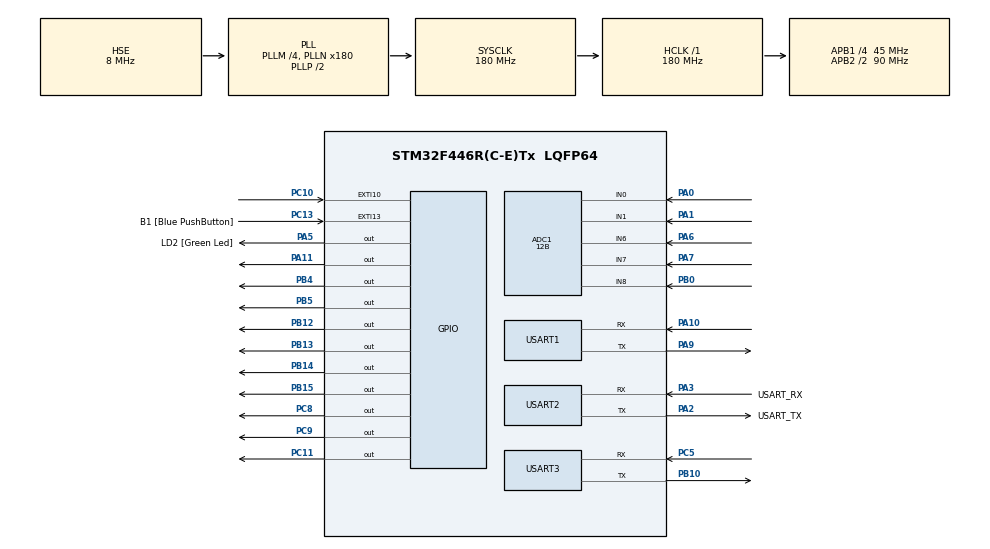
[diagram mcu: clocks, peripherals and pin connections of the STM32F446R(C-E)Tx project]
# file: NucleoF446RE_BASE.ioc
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ADC1.Channel-0\#ChannelRegularConversion=ADC_CHANNEL_0
ADC1.Channel-1\#ChannelRegularConversion=ADC_CHANNEL_1
ADC1.Channel-2\#ChannelRegularConversion=ADC_CHANNEL_6
ADC1.Channel-3\#ChannelRegularConversion=ADC_CHANNEL_7
ADC1.Channel-4\#ChannelRegularConversion=ADC_CHANNEL_8
ADC1.ClockPrescaler=ADC_CLOCK_SYNC_PCLK_DIV4
ADC1.ContinuousConvMode=ENABLE
ADC1.DMAContinuousRequests=ENABLE
ADC1.DataAlign=ADC_DATAALIGN_RIGHT
ADC1.DiscontinuousConvMode=DISABLE
ADC1.EOCSelection=ADC_EOC_SINGLE_CONV
ADC1.EnableAnalogWatchDog=false
ADC1.ExternalTrigConvEdge=ADC_EXTERNALTRIGCONVEDGE_NONE
ADC1.InjNumberOfConversion=0
ADC1.NbrOfConversion=5
ADC1.NbrOfConversionFlag=1
ADC1.Rank-0\#ChannelRegularConversion=1
ADC1.Rank-1\#ChannelRegularConversion=2
ADC1.Rank-2\#ChannelRegularConversion=3
ADC1.Rank-3\#ChannelRegularConversion=4
ADC1.Rank-4\#ChannelRegularConversion=5
ADC1.Resolution=ADC_RESOLUTION_12B
ADC1.SamplingTime-0\#ChannelRegularConversion=ADC_SAMPLETIME_480CYCLES
ADC1.SamplingTime-1\#ChannelRegularConversion=ADC_SAMPLETIME_480CYCLES
ADC1.SamplingTime-2\#ChannelRegularConversion=ADC_SAMPLETIME_480CYCLES
ADC1.SamplingTime-3\#ChannelRegularConversion=ADC_SAMPLETIME_480CYCLES
ADC1.SamplingTime-4\#ChannelRegularConversion=ADC_SAMPLETIME_480CYCLES
ADC1.ScanConvMode=ENABLE
ADC1.master=1
Dma.ADC1.0.Direction=DMA_PERIPH_TO_MEMORY
Dma.ADC1.0.FIFOMode=DMA_FIFOMODE_ENABLE
Dma.ADC1.0.FIFOThreshold=DMA_FIFO_THRESHOLD_HALFFULL
Dma.ADC1.0.Instance=DMA2_Stream0
Dma.ADC1.0.MemBurst=DMA_MBURST_SINGLE
Dma.ADC1.0.MemDataAlignment=DMA_MDATAALIGN_HALFWORD
Dma.ADC1.0.MemInc=DMA_MINC_ENABLE
Dma.ADC1.0.Mode=DMA_CIRCULAR
Dma.ADC1.0.PeriphBurst=DMA_PBURST_SINGLE
Dma.ADC1.0.PeriphDataAlignment=DMA_PDATAALIGN_HALFWORD
Dma.ADC1.0.PeriphInc=DMA_PINC_DISABLE
Dma.ADC1.0.Priority=DMA_PRIORITY_LOW
Dma.Request0=ADC1
Mcu.Family=STM32F4
Mcu.Name=STM32F446R(C-E)Tx
Mcu.Package=LQFP64
NVIC.DMA2_Stream0_IRQn=true\:0\:0\:false\:false\:true\:true
NVIC.EXTI15_10_IRQn=true\:0\:0\:false\:false\:true\:true
NVIC.PriorityGroup=NVIC_PRIORITYGROUP_0
NVIC.RCC_IRQn=true\:0\:0\:false\:false\:true\:true
NVIC.TIM2_IRQn=true\:0\:0\:false\:false\:true\:true
NVIC.TIM3_IRQn=true\:0\:0\:false\:false\:true\:true
NVIC.USART1_IRQn=true\:0\:0\:false\:false\:true\:true
NVIC.USART2_IRQn=true\:0\:0\:false\:false\:true\:true
NVIC.USART3_IRQn=true\:0\:0\:false\:false\:true\:true
PA0-WKUP.Signal=ADCx_IN0
PA1.Signal=ADCx_IN1
PA10.Mode=Asynchronous
PA10.Signal=USART1_RX
PA11.Signal=GPIO_Output
PA13.GPIO_Label=TMS
PA13.Signal=SYS_JTMS-SWDIO
PA14.GPIO_Label=TCK
PA14.Signal=SYS_JTCK-SWCLK
PA2.GPIO_Label=USART_TX
PA2.Mode=Asynchronous
PA2.Signal=USART2_TX
PA3.GPIO_Label=USART_RX
PA3.Mode=Asynchronous
PA3.Signal=USART2_RX
PA5.GPIO_Label=LD2 [Green Led]
PA5.Signal=GPIO_Output
PA6.Signal=ADCx_IN6
PA7.Signal=ADCx_IN7
PA9.Mode=Asynchronous
PA9.Signal=USART1_TX
PB0.Signal=ADCx_IN8
PB10.Mode=Asynchronous
PB10.Signal=USART3_TX
PB12.Signal=GPIO_Output
PB13.Signal=GPIO_Output
PB14.Signal=GPIO_Output
PB15.Signal=GPIO_Output
PB3.GPIO_Label=SWO
PB3.Signal=SYS_JTDO-SWO
PB4.Signal=GPIO_Output
PB5.Signal=GPIO_Output
PC10.Signal=GPXTI10
PC11.Signal=GPIO_Output
PC13.GPIO_Label=B1 [Blue PushButton]
PC13.GPIO_ModeDefaultEXTI=GPIO_MODE_EVT_RISING
PC13.Signal=GPXTI13
PC14-OSC32_IN.Mode=LSE-External-Oscillator
PC14-OSC32_IN.Signal=RCC_OSC32_IN
PC15-OSC32_OUT.Mode=LSE-External-Oscillator
PC15-OSC32_OUT.Signal=RCC_OSC32_OUT
PC5.Mode=Asynchronous
PC5.Signal=USART3_RX
PC8.Signal=GPIO_Output
PC9.Signal=GPIO_Output
PH0-OSC_IN.Mode=HSE-External-Oscillator
PH0-OSC_IN.Signal=RCC_OSC_IN
PH1-OSC_OUT.Mode=HSE-External-Oscillator
PH1-OSC_OUT.Signal=RCC_OSC_OUT
ProjectManager.HeapSize=0x200
ProjectManager.StackSize=0x400
ProjectManager.TargetToolchain=TrueSTUDIO
RCC.AHBFreq_Value=180000000
RCC.APB1CLKDivider=RCC_HCLK_DIV4
RCC.APB1Freq_Value=45000000
RCC.APB1TimFreq_Value=90000000
RCC.APB2CLKDivider=RCC_HCLK_DIV2
RCC.APB2Freq_Value=90000000
RCC.APB2TimFreq_Value=180000000
RCC.CortexFreq_Value=180000000
RCC.FLatency-AdvancedSettings=FLASH_LATENCY_5
RCC.HCLKFreq_Value=180000000
RCC.HSE_VALUE=8000000
RCC.HSI_VALUE=16000000
RCC.PLLM=4
RCC.PLLN=180
RCC.PLLSourceVirtual=RCC_PLLSOURCE_HSE
RCC.SYSCLKFreq_VALUE=180000000
RCC.SYSCLKSource=RCC_SYSCLKSOURCE_PLLCLK
RCC.USBFreq_Value=180000000
RCC.VCOOutputFreq_Value=360000000
SH.ADCx_IN0.0=ADC1_IN0,IN0
SH.ADCx_IN1.0=ADC1_IN1,IN1
SH.ADCx_IN6.0=ADC1_IN6,IN6
SH.ADCx_IN7.0=ADC1_IN7,IN7
SH.ADCx_IN8.0=ADC1_IN8,IN8
TIM2.Period=4999
TIM2.Prescaler=9000
TIM3.Period=9999
TIM3.Prescaler=9000
USART1.VirtualMode=VM_ASYNC
USART2.VirtualMode=VM_ASYNC
USART3.VirtualMode=VM_ASYNC
VP_TIM2_VS_ClockSourceINT.Mode=Internal
VP_TIM3_VS_ClockSourceINT.Mode=Internal
board=NUCLEO-F446RE

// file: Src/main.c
/**
  ******************************************************************************
  * File Name          : main.c
  * Description        : Main program body
  ******************************************************************************
  *
  * COPYRIGHT(c) 2016 STMicroelectronics
  *
  * Redistribution and use in source and binary forms, with or without modification,
  * are permitted provided that the following conditions are met:
  *   1. Redistributions of source code must retain the above copyright notice,
  *      this list of conditions and the following disclaimer.
  *   2. Redistributions in binary form must reproduce the above copyright notice,
  *      this list of conditions and the following disclaimer in the documentation
  *      and/or other materials provided with the distribution.
  *   3. Neither the name of STMicroelectronics nor the names of its contributors
  *      may be used to endorse or promote products derived from this software
  *      without specific prior written permission.
  *
  * THIS SOFTWARE IS PROVIDED BY THE COPYRIGHT HOLDERS AND CONTRIBUTORS "AS IS"
  * AND ANY EXPRESS OR IMPLIED WARRANTIES, INCLUDING, BUT NOT LIMITED TO, THE
  * IMPLIED WARRANTIES OF MERCHANTABILITY AND FITNESS FOR A PARTICULAR PURPOSE ARE
  * DISCLAIMED. IN NO EVENT SHALL THE COPYRIGHT HOLDER OR CONTRIBUTORS BE LIABLE
  * FOR ANY DIRECT, INDIRECT, INCIDENTAL, SPECIAL, EXEMPLARY, OR CONSEQUENTIAL
  * DAMAGES (INCLUDING, BUT NOT LIMITED TO, PROCUREMENT OF SUBSTITUTE GOODS OR
  * SERVICES; LOSS OF USE, DATA, OR PROFITS; OR BUSINESS INTERRUPTION) HOWEVER
  * CAUSED AND ON ANY THEORY OF LIABILITY, WHETHER IN CONTRACT, STRICT LIABILITY,
  * OR TORT (INCLUDING NEGLIGENCE OR OTHERWISE) ARISING IN ANY WAY OUT OF THE USE
  * OF THIS SOFTWARE, EVEN IF ADVISED OF THE POSSIBILITY OF SUCH DAMAGE.
  *
  ******************************************************************************
  */
#include "stm32f4xx_hal.h"

/* USER CODE BEGIN Includes */
#include <math.h>
#include "tlcd.h"
/* USER CODE END Includes */

ADC_HandleTypeDef hadc1;
DMA_HandleTypeDef hdma_adc1;

TIM_HandleTypeDef htim2;
TIM_HandleTypeDef htim3;

UART_HandleTypeDef huart1;
UART_HandleTypeDef huart2;
UART_HandleTypeDef huart3;

/* USER CODE BEGIN PV */
/* Private variables ---------------------------------------------------------*/
#define DATA  10

uint8_t Rx_Buffer1[DATA];
uint8_t Rx_Buffer2[DATA];
uint8_t Rx_Buffer3[DATA];

uint8_t Rx_Data1[2];
uint8_t Rx_Data2[2];
uint8_t Rx_Data3[2];

uint8_t Rx_Indx1;
uint8_t Rx_Indx2;
uint8_t Rx_Indx3;

uint8_t Transfer_cplt1;
uint8_t Transfer_cplt2;
uint8_t Transfer_cplt3;

volatile double   adc[5];
volatile uint16_t ADC_Data[5];
volatile uint16_t ADCData[5];
int				  oldx=0,oldy=0;
volatile uint32_t count=0;
volatile uint16_t Sin[100],ss,cc;

/* USER CODE END PV */

void SystemClock_Config(void);
static void MX_GPIO_Init(void);
static void MX_DMA_Init(void);
static void MX_TIM2_Init(void);
static void MX_TIM3_Init(void);
static void MX_USART1_UART_Init(void);
static void MX_USART2_UART_Init(void);
static void MX_USART3_UART_Init(void);
static void MX_ADC1_Init(void);

/* USER CODE BEGIN PFP */
/* Private function prototypes -----------------------------------------------*/
void 		HAL_UART_RxCpltCallback(UART_HandleTypeDef *huart);
void 		HAL_TIM_PeriodElapsedCallback(TIM_HandleTypeDef *htim);
void 		HAL_ADC_ConvCpltCallback(ADC_HandleTypeDef* hadc);
void 		HAL_GPIO_EXTI_Callback(uint16_t GPIO_Pin);

void		MathDelay();

/* USER CODE END PFP */

/* USER CODE BEGIN 0 */
void	MathDelay()
{
	/*
	volatile uint32_t a;

	for(a=0;a<100000;a++)
	{
		sin(a*3.141592/180) * cos(a*3.141592/180);
		if(a%10000==0)
		{
			HAL_UART_Transmit(&huart2, (uint8_t *)"*", 1,1000);
		}
	}
	HAL_UART_Transmit(&huart2, (uint8_t *)"\r\n", 2,1000);
	*/
}

void HAL_GPIO_EXTI_Callback(uint16_t GPIO_Pin)
{
	char s[20];

		sprintf(s,"Pin no : %5d\r\n",GPIO_Pin);
		HAL_UART_Transmit(&huart2, (uint8_t *)s,16 ,1000);
}

void HAL_UART_RxCpltCallback(UART_HandleTypeDef *huart)
{
	uint8_t	i;

	HAL_GPIO_TogglePin(GPIOA, GPIO_PIN_11);

	if(huart->Instance==USART1)
	{
		if(Rx_Indx1==0)
		{
			for(i=0;i<DATA;i++) Rx_Buffer1[i] = 0;
		}
		if(Rx_Data1[0]!=0x0d)
		{
			Rx_Buffer1[Rx_Indx1++]=Rx_Data1[0];
		}
		else
		{
			Rx_Indx1 = 0;
			Transfer_cplt1 = 1;
		}
		HAL_UART_Receive_IT(&huart1, Rx_Data1, 1);
		HAL_UART_Transmit(&huart1, Rx_Data1, 1,1000);
	}
	else if(huart->Instance==USART2)
	{
		if(Rx_Indx2==0)
		{
			for(i=0;i<DATA;i++) Rx_Buffer2[i] = 0;
		}
		if(Rx_Data2[0]!=0x0d)
		{
			Rx_Buffer2[Rx_Indx2++]=Rx_Data2[0];
		}
		else
		{
			Rx_Indx2 = 0;
			Transfer_cplt2 = 1;
		}
		HAL_UART_Receive_IT(&huart2, Rx_Data2, 1);
		HAL_UART_Transmit(&huart2, Rx_Data2, 1,1000);
	}
	else if(huart->Instance==USART3)
	{
		if(Rx_Indx3==0)
		{
			for(i=0;i<DATA;i++) Rx_Buffer3[i] = 0;
		}
		if(Rx_Data3[0]!=0x0d)
		{
			Rx_Buffer3[Rx_Indx3++]=Rx_Data3[0];
		}
		else
		{
			Rx_Indx3 = 0;
			Transfer_cplt3 = 1;
		}
		HAL_UART_Receive_IT(&huart3, Rx_Data3, 1);
		HAL_UART_Transmit(&huart3, Rx_Data3, 1,1000);
	}
}

void HAL_TIM_PeriodElapsedCallback(TIM_HandleTypeDef *htim)
{
	if(htim->Instance==TIM2) {
		HAL_GPIO_TogglePin(GPIOC, GPIO_PIN_9);
		// HAL_GPIO_TogglePin(LD2_GPIO_Port, LD2_Pin);

		ADCData[0] = ADC_Data[0];
		ADCData[1] = ADC_Data[1];

		adc[0] = oldx-ADCData[0]; // * 3.3 / 4096;
		adc[1] = oldy-ADCData[1]; // * 3.3 / 4096;
		adc[2] = ADC_Data[2] * 5.0 / 4096;
		adc[3] = ADC_Data[3] * 3.3 / 4096;
		adc[4] = ADC_Data[4] * 3.3 / 4096;
		oldx = ADCData[0];
		oldy = ADCData[1];
		//HAL_UART_Transmit(&huart2, (uint8_t *)"Tim2Usart2\r\n", 12,1000);
	}
	else if(htim->Instance==TIM3) {
		HAL_GPIO_TogglePin(GPIOC, GPIO_PIN_8);
		HAL_GPIO_TogglePin(LD2_GPIO_Port, LD2_Pin);
		//HAL_UART_Transmit(&huart2, (uint8_t *)"Tim3Usart2\r\n", 12,1000);
	}
	else if(htim->Instance==TIM4) {
	//	HAL_GPIO_TogglePin(LD2_GPIO_Port, LD2_Pin);
	}
}

void HAL_ADC_ConvCpltCallback(ADC_HandleTypeDef* hadc)
{
//	if(count++==100000000) count = 0;
//	adc[0] = ADC_Data[0] * 3.3 / 4095;
//	adc[1] = ADC_Data[1] * 3.3 / 4095;
//	adc[2] = ADC_Data[2] * 3.3 / 4095;
}
/* USER CODE END 0 */

int main(void)
{

  /* USER CODE BEGIN 1 */
	uint16_t x;
	char s[10];

  /* USER CODE END 1 */

  /* MCU Configuration----------------------------------------------------------*/

  /* Reset of all peripherals, Initializes the Flash interface and the Systick. */
  HAL_Init();

  /* Configure the system clock */
  SystemClock_Config();

  /* Initialize all configured peripherals */
  MX_GPIO_Init();
  MX_DMA_Init();
  MX_TIM2_Init();
  MX_TIM3_Init();
  MX_USART1_UART_Init();
  MX_USART2_UART_Init();
  MX_USART3_UART_Init();
  MX_ADC1_Init();

  /* USER CODE BEGIN 2 */
	while(HAL_UART_Receive_IT(&huart1, Rx_Data1, 1)!=HAL_OK);
	while(HAL_UART_Receive_IT(&huart2, Rx_Data2, 1)!=HAL_OK);
	while(HAL_UART_Receive_IT(&huart3, Rx_Data3, 1)!=HAL_OK);

	// Activate TIMER Interrupt
	while(HAL_TIM_Base_Start_IT(&htim2)!=HAL_OK);
	while(HAL_TIM_Base_Start_IT(&htim3)!=HAL_OK);
//	while(HAL_TIM_PWM_Start(&htim4,TIM_CHANNEL_3 )!=HAL_OK); // set one by one
//	while(HAL_TIM_PWM_Start(&htim4,TIM_CHANNEL_4 )!=HAL_OK);

	// ADC - DMA
	HAL_ADC_Start_DMA(&hadc1,(uint32_t *)&ADC_Data,5);
	HAL_UART_Transmit(&huart2, (uint8_t *)"Start!!!!!\r\n", 12,1000);

	// LCD사용을 위해 GPIOB를 사용.
	TLCD_Init(GPIO_PIN_4,GPIO_PIN_5,GPIO_PIN_12,GPIO_PIN_13,GPIO_PIN_14,GPIO_PIN_15);

	TLCD_Puts(1,"1234567890");
	TLCD_Puts(2,"ABCDEFGHIJ");

	for(x=0;x<=90;x++)
	{
		Sin[x] = (uint16_t)( sin(x*3.141592/180)*1000 );
		//Sin[x] = (uint16_t)(((0.011111*x)+(0.011111*x) - sin(x*3.141592/180))*1000);
	}
	for(x=91;x<=99;x++) Sin[x] = Sin[89];

  /* USER CODE END 2 */

  /* Infinite loop */
  /* USER CODE BEGIN WHILE */
	x=0;
  while (1)
  {
  /* USER CODE END WHILE */

  /* USER CODE BEGIN 3 */

	  for(x=0;x<100;x++)
	  {
		  ss=Sin[x];
		  cc=1000 - Sin[x];
		  HAL_Delay(10000);
		  if(!(x%10))
		  {
			sprintf(s,"%07d\r\n",Sin[x]);
			HAL_UART_Transmit(&huart2, (uint8_t *)s, 10,1000);
			sprintf(s,"%07d",Sin[x]);
			TLCD_Puts(1,s);
		  }
	  }
	  // HAL_Delay(1000000);   // 1000000 us
	  for(x=0;x<100;x++)
	  {
		  ss=1000-Sin[x];
		  cc=Sin[x];
		  HAL_Delay(10000);
		  if(!(x%10))
		  {
			sprintf(s,"%07d\r\n",1000-Sin[x]);
			HAL_UART_Transmit(&huart2, (uint8_t *)s, 10,1000);
			sprintf(s,"%07d",1000-Sin[x]);
			TLCD_Puts(2,s);
		  }
	  }
	  // HAL_Delay(1000000);  // 1000000 us
	  //sprintf(s,"%07d",Sin[x]);
	  //TLCD_Puts(1,s);
	  //sprintf(s,"%07d",1000-Sin[x]);
	  //TLCD_Puts(2,s);
//	  MathDelay();

	  // HAL_UART_Transmit(&huart2, (uint8_t *)"PWM....end\r\n", 12,1000);
	  if(++x>=100) x = 0;

  }
  /* USER CODE END 3 */

}

/** System Clock Configuration
*/
void SystemClock_Config(void)
{

  RCC_OscInitTypeDef RCC_OscInitStruct;
  RCC_ClkInitTypeDef RCC_ClkInitStruct;

  __HAL_RCC_PWR_CLK_ENABLE();

  __HAL_PWR_VOLTAGESCALING_CONFIG(PWR_REGULATOR_VOLTAGE_SCALE1);

  RCC_OscInitStruct.OscillatorType = RCC_OSCILLATORTYPE_HSE;
  RCC_OscInitStruct.HSEState = RCC_HSE_ON;
  RCC_OscInitStruct.PLL.PLLState = RCC_PLL_ON;
  RCC_OscInitStruct.PLL.PLLSource = RCC_PLLSOURCE_HSE;
  RCC_OscInitStruct.PLL.PLLM = 4;
  RCC_OscInitStruct.PLL.PLLN = 180;
  RCC_OscInitStruct.PLL.PLLP = RCC_PLLP_DIV2;
  RCC_OscInitStruct.PLL.PLLQ = 2;
  RCC_OscInitStruct.PLL.PLLR = 2;
  HAL_RCC_OscConfig(&RCC_OscInitStruct);

  HAL_PWREx_EnableOverDrive();

  RCC_ClkInitStruct.ClockType = RCC_CLOCKTYPE_HCLK|RCC_CLOCKTYPE_SYSCLK
                              |RCC_CLOCKTYPE_PCLK1|RCC_CLOCKTYPE_PCLK2;
  RCC_ClkInitStruct.SYSCLKSource = RCC_SYSCLKSOURCE_PLLCLK;
  RCC_ClkInitStruct.AHBCLKDivider = RCC_SYSCLK_DIV1;
  RCC_ClkInitStruct.APB1CLKDivider = RCC_HCLK_DIV4;
  RCC_ClkInitStruct.APB2CLKDivider = RCC_HCLK_DIV2;
  HAL_RCC_ClockConfig(&RCC_ClkInitStruct, FLASH_LATENCY_5);

  HAL_SYSTICK_Config(HAL_RCC_GetHCLKFreq()/1000000);

  HAL_SYSTICK_CLKSourceConfig(SYSTICK_CLKSOURCE_HCLK);

  /* SysTick_IRQn interrupt configuration */
  HAL_NVIC_SetPriority(SysTick_IRQn, 0, 0);
}

/* ADC1 init function */
void MX_ADC1_Init(void)
{

  ADC_ChannelConfTypeDef sConfig;

    /**Configure the global features of the ADC (Clock, Resolution, Data Alignment and number of conversion)
    */
  hadc1.Instance = ADC1;
  hadc1.Init.ClockPrescaler = ADC_CLOCK_SYNC_PCLK_DIV2;
  hadc1.Init.Resolution = ADC_RESOLUTION_12B;
  hadc1.Init.ScanConvMode = ENABLE;
  hadc1.Init.ContinuousConvMode = ENABLE;
  hadc1.Init.DiscontinuousConvMode = DISABLE;
  hadc1.Init.ExternalTrigConvEdge = ADC_EXTERNALTRIGCONVEDGE_NONE;
  hadc1.Init.DataAlign = ADC_DATAALIGN_RIGHT;
  hadc1.Init.NbrOfConversion = 5;
  hadc1.Init.DMAContinuousRequests = ENABLE;
  hadc1.Init.EOCSelection = ADC_EOC_SINGLE_CONV;
  HAL_ADC_Init(&hadc1);

    /**Configure for the selected ADC regular channel its corresponding rank in the sequencer and its sample time.
    */
  sConfig.Channel = ADC_CHANNEL_0;
  sConfig.Rank = 1;
  sConfig.SamplingTime = ADC_SAMPLETIME_480CYCLES;
  HAL_ADC_ConfigChannel(&hadc1, &sConfig);

    /**Configure for the selected ADC regular channel its corresponding rank in the sequencer and its sample time.
    */
  sConfig.Channel = ADC_CHANNEL_1;
  sConfig.Rank = 2;
  HAL_ADC_ConfigChannel(&hadc1, &sConfig);

    /**Configure for the selected ADC regular channel its corresponding rank in the sequencer and its sample time.
    */
  sConfig.Channel = ADC_CHANNEL_6;
  sConfig.Rank = 3;
  HAL_ADC_ConfigChannel(&hadc1, &sConfig);

    /**Configure for the selected ADC regular channel its corresponding rank in the sequencer and its sample time.
    */
  sConfig.Channel = ADC_CHANNEL_7;
  sConfig.Rank = 4;
  HAL_ADC_ConfigChannel(&hadc1, &sConfig);

    /**Configure for the selected ADC regular channel its corresponding rank in the sequencer and its sample time.
    */
  sConfig.Channel = ADC_CHANNEL_8;
  sConfig.Rank = 5;
  HAL_ADC_ConfigChannel(&hadc1, &sConfig);

}

/* TIM2 init function */
void MX_TIM2_Init(void)
{

  TIM_ClockConfigTypeDef sClockSourceConfig;
  TIM_MasterConfigTypeDef sMasterConfig;

  htim2.Instance = TIM2;
  htim2.Init.Prescaler = 9000;
  htim2.Init.CounterMode = TIM_COUNTERMODE_UP;
  htim2.Init.Period = 4999;
  htim2.Init.ClockDivision = TIM_CLOCKDIVISION_DIV1;
  HAL_TIM_Base_Init(&htim2);

  sClockSourceConfig.ClockSource = TIM_CLOCKSOURCE_INTERNAL;
  HAL_TIM_ConfigClockSource(&htim2, &sClockSourceConfig);

  sMasterConfig.MasterOutputTrigger = TIM_TRGO_RESET;
  sMasterConfig.MasterSlaveMode = TIM_MASTERSLAVEMODE_DISABLE;
  HAL_TIMEx_MasterConfigSynchronization(&htim2, &sMasterConfig);

}

/* TIM3 init function */
void MX_TIM3_Init(void)
{

  TIM_ClockConfigTypeDef sClockSourceConfig;
  TIM_MasterConfigTypeDef sMasterConfig;

  htim3.Instance = TIM3;
  htim3.Init.Prescaler = 9000;
  htim3.Init.CounterMode = TIM_COUNTERMODE_UP;
  htim3.Init.Period = 9999;
  htim3.Init.ClockDivision = TIM_CLOCKDIVISION_DIV1;
  HAL_TIM_Base_Init(&htim3);

  sClockSourceConfig.ClockSource = TIM_CLOCKSOURCE_INTERNAL;
  HAL_TIM_ConfigClockSource(&htim3, &sClockSourceConfig);

  sMasterConfig.MasterOutputTrigger = TIM_TRGO_RESET;
  sMasterConfig.MasterSlaveMode = TIM_MASTERSLAVEMODE_DISABLE;
  HAL_TIMEx_MasterConfigSynchronization(&htim3, &sMasterConfig);

}

/* USART1 init function */
void MX_USART1_UART_Init(void)
{

  huart1.Instance = USART1;
  huart1.Init.BaudRate = 115200;
  huart1.Init.WordLength = UART_WORDLENGTH_8B;
  huart1.Init.StopBits = UART_STOPBITS_1;
  huart1.Init.Parity = UART_PARITY_NONE;
  huart1.Init.Mode = UART_MODE_TX_RX;
  huart1.Init.HwFlowCtl = UART_HWCONTROL_NONE;
  huart1.Init.OverSampling = UART_OVERSAMPLING_16;
  HAL_UART_Init(&huart1);

}

/* USART2 init function */
void MX_USART2_UART_Init(void)
{

  huart2.Instance = USART2;
  huart2.Init.BaudRate = 115200;
  huart2.Init.WordLength = UART_WORDLENGTH_8B;
  huart2.Init.StopBits = UART_STOPBITS_1;
  huart2.Init.Parity = UART_PARITY_NONE;
  huart2.Init.Mode = UART_MODE_TX_RX;
  huart2.Init.HwFlowCtl = UART_HWCONTROL_NONE;
  huart2.Init.OverSampling = UART_OVERSAMPLING_16;
  HAL_UART_Init(&huart2);

}

/* USART3 init function */
void MX_USART3_UART_Init(void)
{

  huart3.Instance = USART3;
  huart3.Init.BaudRate = 115200;
  huart3.Init.WordLength = UART_WORDLENGTH_8B;
  huart3.Init.StopBits = UART_STOPBITS_1;
  huart3.Init.Parity = UART_PARITY_NONE;
  huart3.Init.Mode = UART_MODE_TX_RX;
  huart3.Init.HwFlowCtl = UART_HWCONTROL_NONE;
  huart3.Init.OverSampling = UART_OVERSAMPLING_16;
  HAL_UART_Init(&huart3);

}

void MX_DMA_Init(void)
{
  /* DMA controller clock enable */
  __HAL_RCC_DMA2_CLK_ENABLE();

  /* DMA interrupt init */
  /* DMA2_Stream0_IRQn interrupt configuration */
  HAL_NVIC_SetPriority(DMA2_Stream0_IRQn, 0, 0);
  HAL_NVIC_EnableIRQ(DMA2_Stream0_IRQn);

}

/** Configure pins as
        * Analog
        * Input
        * Output
        * EVENT_OUT
        * EXTI
*/
void MX_GPIO_Init(void)
{

  GPIO_InitTypeDef GPIO_InitStruct;

  /* GPIO Ports Clock Enable */
  __HAL_RCC_GPIOC_CLK_ENABLE();
  __HAL_RCC_GPIOH_CLK_ENABLE();
  __HAL_RCC_GPIOA_CLK_ENABLE();
  __HAL_RCC_GPIOB_CLK_ENABLE();

  /*Configure GPIO pin : B1_Pin */
  GPIO_InitStruct.Pin = B1_Pin;
  GPIO_InitStruct.Mode = GPIO_MODE_EVT_RISING;
  GPIO_InitStruct.Pull = GPIO_NOPULL;
  HAL_GPIO_Init(B1_GPIO_Port, &GPIO_InitStruct);

  /*Configure GPIO pin : LD2_Pin */
  GPIO_InitStruct.Pin = LD2_Pin|GPIO_PIN_11;
  GPIO_InitStruct.Mode = GPIO_MODE_OUTPUT_PP;
  GPIO_InitStruct.Pull = GPIO_NOPULL;
  GPIO_InitStruct.Speed = GPIO_SPEED_FREQ_LOW;
  HAL_GPIO_Init(LD2_GPIO_Port, &GPIO_InitStruct);

  /*Configure GPIO pins : PB12 PB13 PB14 PB15
                           PB4 PB5 */
  GPIO_InitStruct.Pin = GPIO_PIN_12|GPIO_PIN_13|GPIO_PIN_14|GPIO_PIN_15
                          |GPIO_PIN_4|GPIO_PIN_5;
  GPIO_InitStruct.Mode = GPIO_MODE_OUTPUT_PP;
  GPIO_InitStruct.Pull = GPIO_NOPULL;
  GPIO_InitStruct.Speed = GPIO_SPEED_FREQ_LOW;
  HAL_GPIO_Init(GPIOB, &GPIO_InitStruct);

  /*Configure GPIO pins : PC8 PC9 PC11 */
  GPIO_InitStruct.Pin = GPIO_PIN_8|GPIO_PIN_9|GPIO_PIN_11;
  GPIO_InitStruct.Mode = GPIO_MODE_OUTPUT_PP;
  GPIO_InitStruct.Pull = GPIO_NOPULL;
  GPIO_InitStruct.Speed = GPIO_SPEED_FREQ_LOW;
  HAL_GPIO_Init(GPIOC, &GPIO_InitStruct);

  /*Configure GPIO pin : PC10 */
  GPIO_InitStruct.Pin = GPIO_PIN_10;
  GPIO_InitStruct.Mode = GPIO_MODE_IT_RISING;
  GPIO_InitStruct.Pull = GPIO_NOPULL;
  HAL_GPIO_Init(GPIOC, &GPIO_InitStruct);

  /*Configure GPIO pin Output Level */
  HAL_GPIO_WritePin(LD2_GPIO_Port, LD2_Pin|GPIO_PIN_11, GPIO_PIN_RESET);

  /*Configure GPIO pin Output Level */
  HAL_GPIO_WritePin(GPIOB, GPIO_PIN_12|GPIO_PIN_13|GPIO_PIN_14|GPIO_PIN_15
                          |GPIO_PIN_4|GPIO_PIN_5, GPIO_PIN_RESET);

  /*Configure GPIO pin Output Level */
  HAL_GPIO_WritePin(GPIOC, GPIO_PIN_8|GPIO_PIN_9|GPIO_PIN_11, GPIO_PIN_RESET);

  /* EXTI interrupt init*/
  HAL_NVIC_SetPriority(EXTI15_10_IRQn, 0, 0);
  HAL_NVIC_EnableIRQ(EXTI15_10_IRQn);

}

/************************ (C) COPYRIGHT STMicroelectronics *****END OF FILE****/
